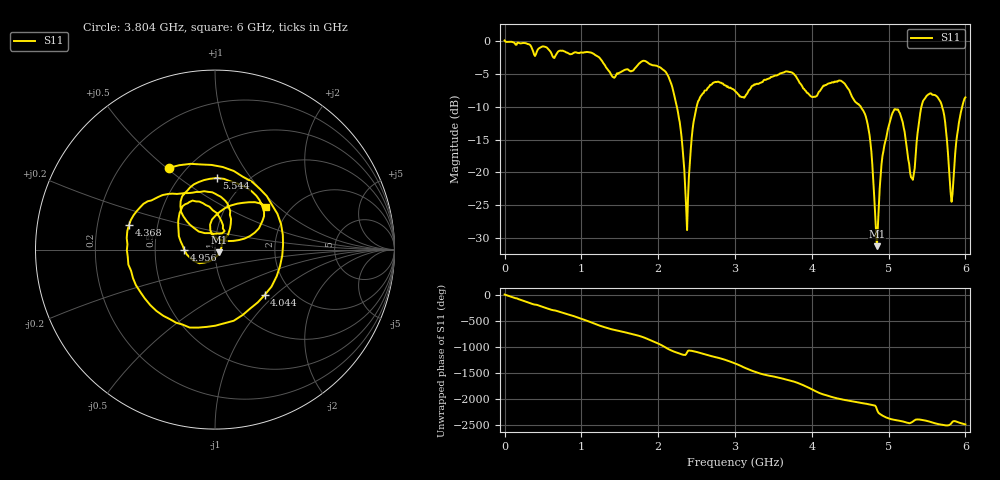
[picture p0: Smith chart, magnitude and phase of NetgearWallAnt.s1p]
# Hz S RI R 50
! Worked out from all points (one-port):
!   501 points, 1 MHz to 6 GHz, reference 50 ohm
!   lowest |S11| = -31.2 dB at 4.848 GHz (marker M1), VSWR 1.06, Z = 52.3 - j1.66 ohm
!   |S11| at or under -10 dB: 2.243 GHz to 2.502 GHz (258.5 MHz wide, 10.9 % of centre); 4.637 GHz to 5.428 GHz (791.1 MHz wide, 15.7 % of centre); 5.696 GHz to 5.959 GHz (262.3 MHz wide, 4.5 % of centre)
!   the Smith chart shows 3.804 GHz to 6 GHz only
!   S11 on the Smith chart (normalised r, x): 3.804 GHz: 0.41, +0.51; 4.044 GHz: 1.46, -0.86; 4.368 GHz: 0.34, +0.12; 4.956 GHz: 0.71, -0.00; 5.544 GHz: 0.74, +0.70; 6 GHz: 1.51, +0.84
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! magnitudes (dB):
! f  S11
! 1 MHz  0.0
! 756.9 MHz  -1.5
! 1.501 GHz  -4.8
! 2.041 GHz  -4.2
! 2.257 GHz  -10.8
! 2.377 GHz  -28.7
! 2.449 GHz  -13.4
! 2.533 GHz  -9.0
! 2.749 GHz  -6.2
! 3.001 GHz  -7.6
! 3.756 GHz  -4.9
! 3.804 GHz  -5.6
! 4.044 GHz  -8.5
! 4.368 GHz  -6.0
! 4.5 GHz  -7.9
! 4.728 GHz  -12.7
! 4.848 GHz  -31.2
! 4.908 GHz  -18.7
! 4.956 GHz  -15.3
! 5.112 GHz  -10.4
! 5.256 GHz  -18.0
! 5.316 GHz  -21.1
! 5.424 GHz  -10.2
! 5.544 GHz  -8.0
! 5.712 GHz  -10.6
! 5.82 GHz  -24.4
! 5.904 GHz  -13.5
! 6 GHz  -8.6
